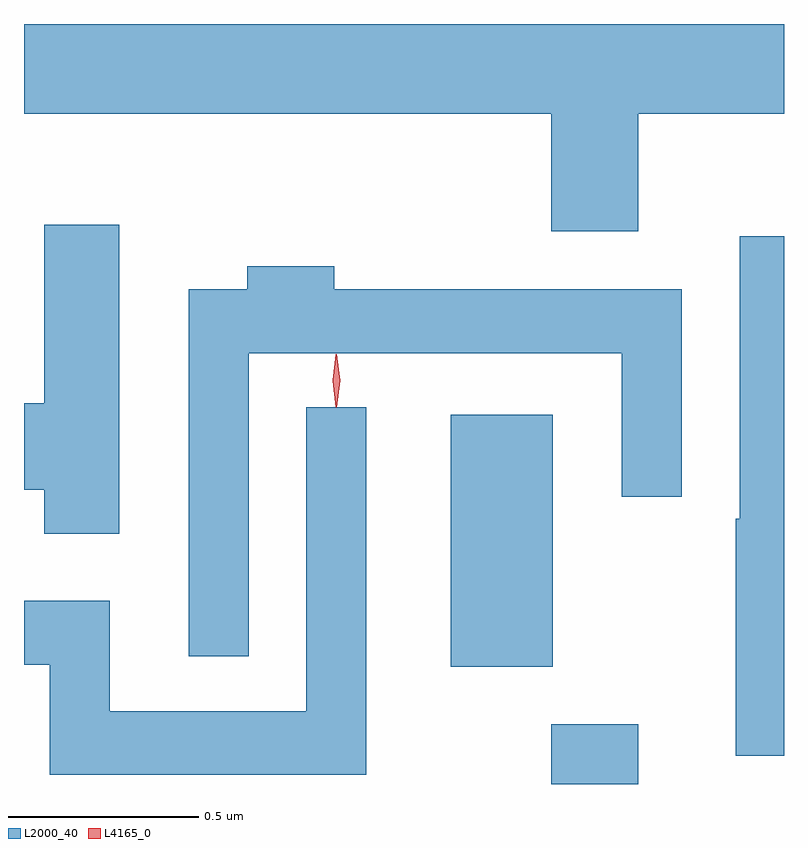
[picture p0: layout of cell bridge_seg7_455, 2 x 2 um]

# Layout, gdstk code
import gdstk
lib = gdstk.Library(unit=1e-6, precision=1e-09)
def R(c, l, rs):  # rectangles x0, y0, x1, y1
    for r in rs: c.add(gdstk.rectangle(r[:2], r[2:], *l))
def P(c, l, *ps):  # polygons
    for p in ps: c.add(gdstk.Polygon(p, *l))
L2000_40 = (2000, 40)
L4165_0 = (4165, 0)

bridge_seg7_455 = lib.new_cell('bridge_seg7_455')
R(bridge_seg7_455, L2000_40, [(1170.491,1701.452,1170.719,1701.609), (1170.226,1701.761,1170.494,1702.424)])
P(bridge_seg7_455, L2000_40, [(1170.719,1703.216),(1171.103,1703.216),(1171.103,1703.452),(1169.103,1703.452),(1169.103,1703.216),(1170.491,1703.216),(1170.491,1702.906),(1170.719,1702.906)],
  [(1169.354,1702.924),(1169.156,1702.924),(1169.156,1702.454),(1169.103,1702.454),(1169.103,1702.226),(1169.156,1702.226),(1169.156,1702.111),(1169.354,1702.111)],
  [(1171.103,1702.893),(1170.986,1702.893),(1170.986,1702.15),(1170.976,1702.15),(1170.976,1701.526),(1171.103,1701.526)],
  [(1169.694,1702.586),(1170.676,1702.586),(1170.676,1702.208),(1170.834,1702.208),(1170.834,1702.754),(1169.919,1702.754),(1169.919,1702.814),(1169.691,1702.814),(1169.691,1702.754),(1169.536,1702.754),(1169.536,1701.788),(1169.694,1701.788)],
  [(1170.004,1702.443),(1169.846,1702.443),(1169.846,1701.644),(1169.329,1701.644),(1169.329,1701.934),(1169.103,1701.934),(1169.103,1701.766),(1169.171,1701.766),(1169.171,1701.476),(1170.004,1701.476)])
P(bridge_seg7_455, L4165_0, [(1169.924,1702.444),(1169.915,1702.513),(1169.924,1702.583),(1169.925,1702.583),(1169.926,1702.583),(1169.935,1702.513),(1169.926,1702.444),(1169.925,1702.444)],
  [(1169.924,1702.447),(1169.915,1702.514),(1169.924,1702.58),(1169.925,1702.581),(1169.926,1702.58),(1169.935,1702.514),(1169.926,1702.447),(1169.925,1702.447)])

lib.write_gds('bridge_seg7_455.gds')
